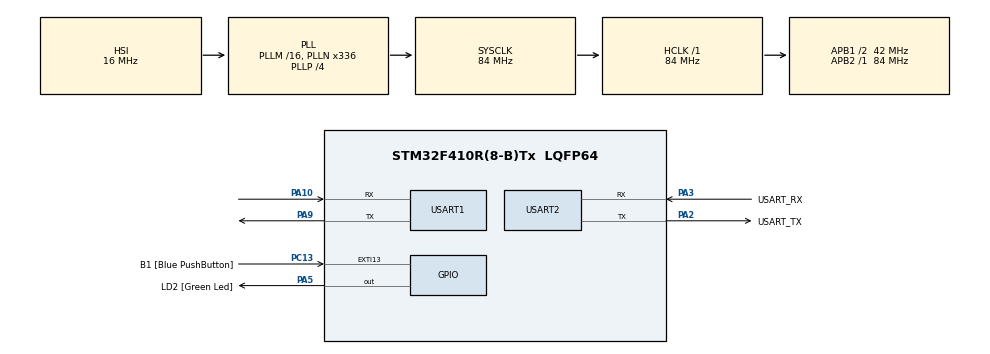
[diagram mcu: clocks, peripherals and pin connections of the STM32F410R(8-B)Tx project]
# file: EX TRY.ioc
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Mcu.Family=STM32F4
Mcu.Name=STM32F410R(8-B)Tx
Mcu.Package=LQFP64
NVIC.PriorityGroup=NVIC_PRIORITYGROUP_0
PA10.Mode=Asynchronous
PA10.Signal=USART1_RX
PA13.GPIO_Label=TMS
PA13.Mode=Serial_Wire
PA13.Signal=SYS_JTMS-SWDIO
PA14.GPIO_Label=TCK
PA14.Mode=Serial_Wire
PA14.Signal=SYS_JTCK-SWCLK
PA2.GPIO_Label=USART_TX
PA2.Mode=Asynchronous
PA2.Signal=USART2_TX
PA3.GPIO_Label=USART_RX
PA3.Mode=Asynchronous
PA3.Signal=USART2_RX
PA5.GPIO_Label=LD2 [Green Led]
PA5.Signal=GPIO_Output
PA9.Mode=Asynchronous
PA9.Signal=USART1_TX
PB3.GPIO_Label=SWO
PB3.Signal=SYS_JTDO-SWO
PC13-ANTI_TAMP.GPIO_Label=B1 [Blue PushButton]
PC13-ANTI_TAMP.GPIO_ModeDefaultEXTI=GPIO_MODE_IT_FALLING
PC13-ANTI_TAMP.Signal=GPXTI13
PC14-OSC32_IN.Mode=LSE-External-Oscillator
PC14-OSC32_IN.Signal=RCC_OSC32_IN
PC15-OSC32_OUT.Mode=LSE-External-Oscillator
PC15-OSC32_OUT.Signal=RCC_OSC32_OUT
PH0\ -\ OSC_IN.Mode=HSE-External-Clock-Source
PH0\ -\ OSC_IN.Signal=RCC_OSC_IN
PH1\ -\ OSC_OUT.Mode=HSE-External-Clock-Source
PH1\ -\ OSC_OUT.Signal=RCC_OSC_OUT
ProjectManager.HeapSize=0x200
ProjectManager.StackSize=0x400
ProjectManager.TargetToolchain=MDK-ARM V5.32
RCC.48MHZClocksFreq_Value=84000000
RCC.AHBFreq_Value=84000000
RCC.APB1CLKDivider=RCC_HCLK_DIV2
RCC.APB1Freq_Value=42000000
RCC.APB1TimFreq_Value=84000000
RCC.APB2Freq_Value=84000000
RCC.APB2TimFreq_Value=84000000
RCC.CortexFreq_Value=84000000
RCC.FLatency-AdvancedSettings=FLASH_LATENCY_2
RCC.HCLKFreq_Value=84000000
RCC.HSE_VALUE=8000000
RCC.HSI_VALUE=16000000
RCC.PLLN=336
RCC.PLLP=RCC_PLLP_DIV4
RCC.SYSCLKFreq_VALUE=84000000
RCC.SYSCLKSource=RCC_SYSCLKSOURCE_PLLCLK
RCC.VCOOutputFreq_Value=336000000
USART1.VirtualMode=VM_ASYNC
USART2.VirtualMode=VM_ASYNC
board=NUCLEO-F410RB

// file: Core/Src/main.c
/* USER CODE BEGIN Header */
/**
  ******************************************************************************
  * @file           : main.c
  * @brief          : Main program body
  ******************************************************************************
  * @attention
  *
  * Copyright (c) 2026 STMicroelectronics.
  * All rights reserved.
  *
  * This software is licensed under terms that can be found in the LICENSE file
  * in the root directory of this software component.
  * If no LICENSE file comes with this software, it is provided AS-IS.
  *
  ******************************************************************************
  */
/* USER CODE END Header */
#include "main.h"

/* USER CODE BEGIN Includes */
#include <string.h>
#include <stdio.h>
/* USER CODE END Includes */

UART_HandleTypeDef huart1;
UART_HandleTypeDef huart2;

void SystemClock_Config(void);
static void MX_GPIO_Init(void);
static void MX_USART2_UART_Init(void);
static void MX_USART1_UART_Init(void);

/* USER CODE BEGIN 0 */
void ESP_SendCommand(char *cmd, uint32_t timeout)
{
    uint8_t receive;
    static uint8_t buffer[512];
    uint16_t count = 0;

    // Send command to ESP8266
    HAL_UART_Transmit(&huart1, (uint8_t*)cmd, strlen(cmd), HAL_MAX_DELAY);

    uint32_t start = HAL_GetTick();
    uint32_t lastByte = start;

    while ((HAL_GetTick() - start) < timeout && count < sizeof(buffer))
    {
        if (HAL_UART_Receive(&huart1, &receive, 1, 20) == HAL_OK)
        {
            buffer[count++] = receive;
            lastByte = HAL_GetTick();
        }

        // Stop when no new byte arrives for 200 ms
        if (count > 0 && (HAL_GetTick() - lastByte) >= 200)
        {
            break;
        }
    }

    // Forward the complete collected response to the PC
    if (count > 0)
    {
        HAL_UART_Transmit(&huart2, buffer, count, HAL_MAX_DELAY);
    }
}

void ESP_ConnectWiFi(char *cmd)
{
    uint8_t receive;
    static char buffer[512];
		memset(buffer, 0, sizeof(buffer));
    uint16_t count = 0;

    uint8_t gotIP = 0;
    uint8_t gotOK = 0;

    HAL_UART_Transmit(&huart1, (uint8_t*)cmd,
                      strlen(cmd), HAL_MAX_DELAY);

    uint32_t start = HAL_GetTick();

    while ((HAL_GetTick() - start) < 20000 &&
           count < sizeof(buffer) - 1)
    {
        if (HAL_UART_Receive(&huart1, &receive, 1, 100) == HAL_OK)
        {
            buffer[count++] = receive;
            buffer[count] = '\0';

            if (strstr(buffer, "WIFI GOT IP") != NULL)
                gotIP = 1;

            if (strstr(buffer, "OK") != NULL)
                gotOK = 1;

            if (strstr(buffer, "FAIL") != NULL ||
                strstr(buffer, "ERROR") != NULL)
                break;

            if (gotIP && gotOK)
                break;
        }
    }

    HAL_UART_Transmit(&huart2, (uint8_t*)buffer,
                      count, HAL_MAX_DELAY);
}

void ESP_SendHTTPResponse(uint8_t connectionID)
{
    static char body[] =
        "<html>"
        "<body>"
        "<h1>Hello from STM32!</h1>"
        "<p>ESP8266 communication successful.</p>"
        "</body>"
        "</html>";

    static char response[512];
    static char command[40];
    uint8_t receive;

    // Construct complete HTTP response
    int responseLength = snprintf(response, sizeof(response),
        "HTTP/1.1 200 OK\r\n"
        "Content-Type: text/html\r\n"
        "Content-Length: %u\r\n"
        "Connection: close\r\n"
        "\r\n"
        "%s",
        (unsigned int)strlen(body), body);

		HAL_UART_Transmit(&huart2,
    (uint8_t*)"SENDING CIPSEND\r\n", 17, HAL_MAX_DELAY);

    // Construct AT+CIPSEND command using the extracted connection ID
    snprintf(command, sizeof(command),
        "AT+CIPSEND=%u,%d\r\n",
        connectionID, responseLength);

    // Tell ESP8266 how many bytes we want to send
    HAL_UART_Transmit(&huart1, (uint8_t*)command,
                      strlen(command), HAL_MAX_DELAY);

    // Wait for the '>' prompt
    uint32_t start = HAL_GetTick();
    uint8_t promptReceived = 0;

    while ((HAL_GetTick() - start) < 5000)
    {
        if (HAL_UART_Receive(&huart1, &receive, 1, 100) == HAL_OK)
        {
            HAL_UART_Transmit(&huart2, &receive, 1, HAL_MAX_DELAY);

            if (receive == '>')
            {
                promptReceived = 1;
                break;
            }
        }
    }

		HAL_UART_Transmit(&huart2,
    (uint8_t*)"PROMPT RECEIVED\r\n", 17, HAL_MAX_DELAY);

    if (!promptReceived)
    {
        return;
    }

    // Send the actual HTTP response
    HAL_UART_Transmit(&huart1, (uint8_t*)response,
                      responseLength, HAL_MAX_DELAY);

		HAL_UART_Transmit(&huart2,
    (uint8_t*)"HTTP RESPONSE SENT\r\n", 20, HAL_MAX_DELAY);

    // Wait for SEND OK
    static char ack[64] = {0};
    uint16_t count = 0;
    start = HAL_GetTick();

    while ((HAL_GetTick() - start) < 3000 && count < sizeof(ack) - 1)
    {
        if (HAL_UART_Receive(&huart1, &receive, 1, 100) == HAL_OK)
        {
            HAL_UART_Transmit(&huart2, &receive, 1, HAL_MAX_DELAY);

            ack[count++] = receive;
            ack[count] = '\0';

            if (strstr(ack, "SEND OK") != NULL ||
                strstr(ack, "ERROR") != NULL)
            {
                break;
            }
        }
    }

		HAL_UART_Transmit(&huart2,
    (uint8_t*)"ACK WAIT FINISHED\r\n", 19, HAL_MAX_DELAY);

    // Close this TCP connection
    snprintf(command, sizeof(command),
             "AT+CIPCLOSE=%u\r\n", connectionID);

    HAL_UART_Transmit(&huart1, (uint8_t*)command,
                      strlen(command), HAL_MAX_DELAY);
}

void ESP_ProcessReceivedData(uint8_t *buffer, uint16_t count)
{
    // Make the received data a null-terminated string
    buffer[count] = '\0';

    // Search for +IPD
    char *ipd = strstr((char*)buffer, "+IPD,");

    if (ipd == NULL)
        return;

    // Move past "+IPD,"
    char *ptr = ipd + 5;

    // Extract connection ID
    uint8_t connectionID = 0;

    while (*ptr >= '0' && *ptr <= '9')
    {
        connectionID = connectionID * 10 + (*ptr - '0');
        ptr++;
    }

    // We expect a comma after the connection ID
    if (*ptr != ',')
        return;

    ptr++;

    // Extract incoming data length
    uint32_t dataLength = 0;

    while (*ptr >= '0' && *ptr <= '9')
    {
        dataLength = dataLength * 10 + (*ptr - '0');
        ptr++;
    }

    // We expect ':' after the length
    if (*ptr != ':')
        return;

    ptr++;

    if ((uint32_t)(buffer + count - (uint8_t*)ptr) < dataLength)
        return;

    // Check whether this is an HTTP request
    if ((dataLength >= 4 && strncmp(ptr, "GET ", 4) == 0) ||
    (dataLength >= 5 && strncmp(ptr, "POST ", 5) == 0))
    {
        // Send response using the extracted connection ID
        ESP_SendHTTPResponse(connectionID);
    }
}

void receiveResponse(uint32_t timeout)
{
    uint8_t receive;
    uint8_t buffer[1025];
    uint16_t count = 0;

    uint32_t start = HAL_GetTick();
    uint32_t lastByte = start;

    while ((HAL_GetTick() - start) < timeout &&
           count < sizeof(buffer) - 1)
    {
        if (HAL_UART_Receive(&huart1, &receive, 1, 20) == HAL_OK)
        {
            buffer[count++] = receive;
            lastByte = HAL_GetTick();
        }

        if (count > 0 && (HAL_GetTick() - lastByte) >= 200)
        {
            break;
        }
    }

    if (count > 0)
    {
        // Display received data on Serial Monitor
        HAL_UART_Transmit(&huart2, buffer, count, HAL_MAX_DELAY);

        // Process the incoming data
        ESP_ProcessReceivedData(buffer, count);
    }
}

/* USER CODE END 0 */

int main(void)
{
    char at_cmd[] = "AT\r\n";
    char mode[] = "AT+CWMODE=1\r\n";
    char dhcp[] = "AT+CWDHCP=1,1\r\n";
    char authenticate[] = "AT+CWJAP=\"YOUR_WIFI_SSID\",\"YOUR_WIFI_PASSWORD\"\r\n";
		char details[] = "AT+CIFSR\r\n";
		char mux[] = "AT+CIPMUX=1\r\n";
		char httpserver[] = "AT+CIPSERVER=1,80\r\n";

    HAL_Init();
    SystemClock_Config();
    MX_GPIO_Init();
    MX_USART2_UART_Init();
    MX_USART1_UART_Init();

    HAL_Delay(2000);

    ESP_SendCommand(at_cmd, 2000);
    HAL_Delay(500);

    ESP_SendCommand(mode, 2000);
    HAL_Delay(500);

    ESP_SendCommand(dhcp, 2000);
    HAL_Delay(500);

    ESP_ConnectWiFi(authenticate);
    HAL_Delay(1500);

		ESP_SendCommand(details, 4000);
		HAL_Delay(1000);

		ESP_SendCommand(mux, 2000);
		HAL_Delay(500);

		ESP_SendCommand(httpserver, 2000);
		HAL_Delay(500);

    while (1)
		{
				receiveResponse(2000);
		}
}

void SystemClock_Config(void)
{
  RCC_OscInitTypeDef RCC_OscInitStruct = {0};
  RCC_ClkInitTypeDef RCC_ClkInitStruct = {0};

  /** Configure the main internal regulator output voltage
  */
  __HAL_RCC_PWR_CLK_ENABLE();
  __HAL_PWR_VOLTAGESCALING_CONFIG(PWR_REGULATOR_VOLTAGE_SCALE1);

  /** Initializes the RCC Oscillators according to the specified parameters
  * in the RCC_OscInitTypeDef structure.
  */
  RCC_OscInitStruct.OscillatorType = RCC_OSCILLATORTYPE_HSI;
  RCC_OscInitStruct.HSIState = RCC_HSI_ON;
  RCC_OscInitStruct.HSICalibrationValue = RCC_HSICALIBRATION_DEFAULT;
  RCC_OscInitStruct.PLL.PLLState = RCC_PLL_ON;
  RCC_OscInitStruct.PLL.PLLSource = RCC_PLLSOURCE_HSI;
  RCC_OscInitStruct.PLL.PLLM = 16;
  RCC_OscInitStruct.PLL.PLLN = 336;
  RCC_OscInitStruct.PLL.PLLP = RCC_PLLP_DIV4;
  RCC_OscInitStruct.PLL.PLLQ = 4;
  RCC_OscInitStruct.PLL.PLLR = 2;
  if (HAL_RCC_OscConfig(&RCC_OscInitStruct) != HAL_OK)
  {
    Error_Handler();
  }

  /** Initializes the CPU, AHB and APB buses clocks
  */
  RCC_ClkInitStruct.ClockType = RCC_CLOCKTYPE_HCLK|RCC_CLOCKTYPE_SYSCLK
                              |RCC_CLOCKTYPE_PCLK1|RCC_CLOCKTYPE_PCLK2;
  RCC_ClkInitStruct.SYSCLKSource = RCC_SYSCLKSOURCE_PLLCLK;
  RCC_ClkInitStruct.AHBCLKDivider = RCC_SYSCLK_DIV1;
  RCC_ClkInitStruct.APB1CLKDivider = RCC_HCLK_DIV2;
  RCC_ClkInitStruct.APB2CLKDivider = RCC_HCLK_DIV1;

  if (HAL_RCC_ClockConfig(&RCC_ClkInitStruct, FLASH_LATENCY_2) != HAL_OK)
  {
    Error_Handler();
  }
}

static void MX_USART1_UART_Init(void)
{

  huart1.Instance = USART1;
  huart1.Init.BaudRate = 115200;
  huart1.Init.WordLength = UART_WORDLENGTH_8B;
  huart1.Init.StopBits = UART_STOPBITS_1;
  huart1.Init.Parity = UART_PARITY_NONE;
  huart1.Init.Mode = UART_MODE_TX_RX;
  huart1.Init.HwFlowCtl = UART_HWCONTROL_NONE;
  huart1.Init.OverSampling = UART_OVERSAMPLING_16;
  if (HAL_UART_Init(&huart1) != HAL_OK)
  {
    Error_Handler();
  }

}

static void MX_USART2_UART_Init(void)
{

  huart2.Instance = USART2;
  huart2.Init.BaudRate = 115200;
  huart2.Init.WordLength = UART_WORDLENGTH_8B;
  huart2.Init.StopBits = UART_STOPBITS_1;
  huart2.Init.Parity = UART_PARITY_NONE;
  huart2.Init.Mode = UART_MODE_TX_RX;
  huart2.Init.HwFlowCtl = UART_HWCONTROL_NONE;
  huart2.Init.OverSampling = UART_OVERSAMPLING_16;
  if (HAL_UART_Init(&huart2) != HAL_OK)
  {
    Error_Handler();
  }

}

static void MX_GPIO_Init(void)
{
  GPIO_InitTypeDef GPIO_InitStruct = {0};

  /* GPIO Ports Clock Enable */
  __HAL_RCC_GPIOC_CLK_ENABLE();
  __HAL_RCC_GPIOH_CLK_ENABLE();
  __HAL_RCC_GPIOA_CLK_ENABLE();
  __HAL_RCC_GPIOB_CLK_ENABLE();

  /*Configure GPIO pin Output Level */
  HAL_GPIO_WritePin(LD2_GPIO_Port, LD2_Pin, GPIO_PIN_RESET);

  /*Configure GPIO pin : B1_Pin */
  GPIO_InitStruct.Pin = B1_Pin;
  GPIO_InitStruct.Mode = GPIO_MODE_IT_FALLING;
  GPIO_InitStruct.Pull = GPIO_NOPULL;
  HAL_GPIO_Init(B1_GPIO_Port, &GPIO_InitStruct);

  /*Configure GPIO pin : LD2_Pin */
  GPIO_InitStruct.Pin = LD2_Pin;
  GPIO_InitStruct.Mode = GPIO_MODE_OUTPUT_PP;
  GPIO_InitStruct.Pull = GPIO_NOPULL;
  GPIO_InitStruct.Speed = GPIO_SPEED_FREQ_LOW;
  HAL_GPIO_Init(LD2_GPIO_Port, &GPIO_InitStruct);

}

void Error_Handler(void)
{
  __disable_irq();
  while (1)
  {
  }
}
